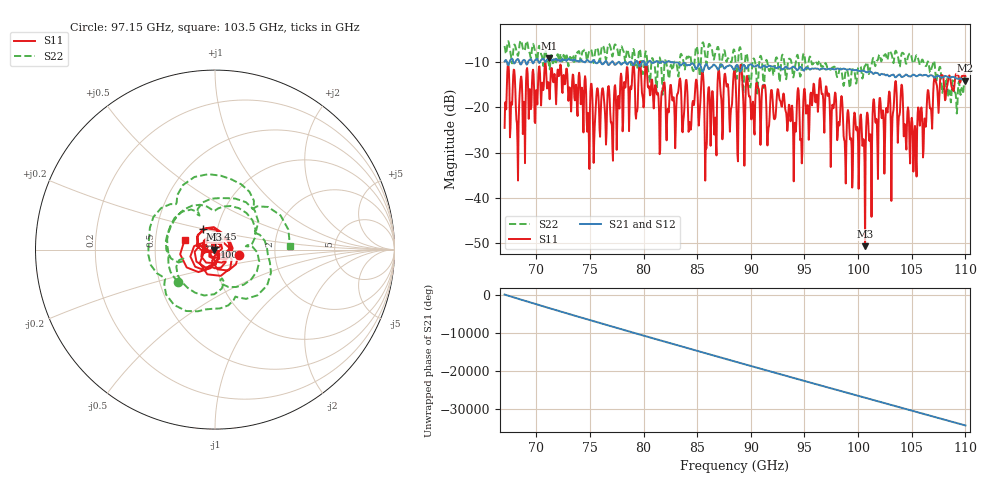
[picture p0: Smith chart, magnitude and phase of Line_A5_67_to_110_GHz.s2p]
#  HZ  S  MA  R  50.00
! Rohde & Schwarz ZVA67 4Ports - Version 4.11 - 1305.7002k04 SN: 101051
! Date: 2023-09-13 16:15:09
! Measurements: S11 S21 S12 S22
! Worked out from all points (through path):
!   860 points, 67.05 GHz to 110 GHz, reference 50 ohm
!   highest |S21| = -9.11 dB at 71.2 GHz (marker M1); lowest = -14.1 dB at 110 GHz (marker M2)
!   lowest |S11| = -50.7 dB at 100.7 GHz (marker M3), VSWR 1.01, Z = 49.7 + j0.0476 ohm
!   |S11| at or under -10 dB: start of sweep to 79.64 GHz; 79.67 GHz to end of sweep
!   |S22| runs from -21.4 to -5.2 dB; largest |S21 - S12| = 0.048
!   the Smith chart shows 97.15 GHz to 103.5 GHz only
!   S11 on the Smith chart (normalised r, x): 97.15 GHz: 1.30, -0.07; 98.45 GHz: 0.86, +0.20; 100 GHz: 1.00, +0.02; 103.5 GHz: 0.71, +0.08
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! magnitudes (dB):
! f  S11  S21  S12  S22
! 67.05 GHz  -24.5  -9.8  -9.8  -6.4
! 67.3 GHz  -12.2  -10.3  -10.3  -6.1
! 68.25 GHz  -28.1  -9.3  -9.3  -8.4
! 71.2 GHz  -16.5  -9.1  -9.1  -11.1
! 74.25 GHz  -15.6  -9.7  -9.7  -8.2
! 77.05 GHz  -24.1  -9.8  -9.8  -8.4
! 80.3 GHz  -11.5  -10.5  -10.4  -8.6
! 81.4 GHz  -18.0  -10.1  -10.1  -9.4
! 85.85 GHz  -29.1  -10.4  -10.4  -10.5
! 88.55 GHz  -12.9  -11.2  -11.2  -9.1
! 94.05 GHz  -26.5  -11.1  -11.1  -12.2
! 95.7 GHz  -19.6  -11.4  -11.4  -10.5
! 97.15 GHz  -17.5  -11.5  -11.5  -11.2
! 98.45 GHz  -17.5  -11.6  -11.6  -11.9
! 100 GHz  -38.0  -11.9  -11.9  -11.1
! 100.7 GHz  -50.7  -12.1  -12.0  -10.8
! 102.8 GHz  -17.5  -13.1  -13.1  -7.9
! 103.5 GHz  -15.0  -13.3  -13.2  -7.6
! 105.3 GHz  -24.1  -12.9  -12.9  -9.5
! 107.2 GHz  -13.9  -13.3  -13.3  -12.2
! 110 GHz  -12.7  -14.1  -14.0  -13.0
! 110 GHz  -13.1  -14.1  -14.0  -13.6
